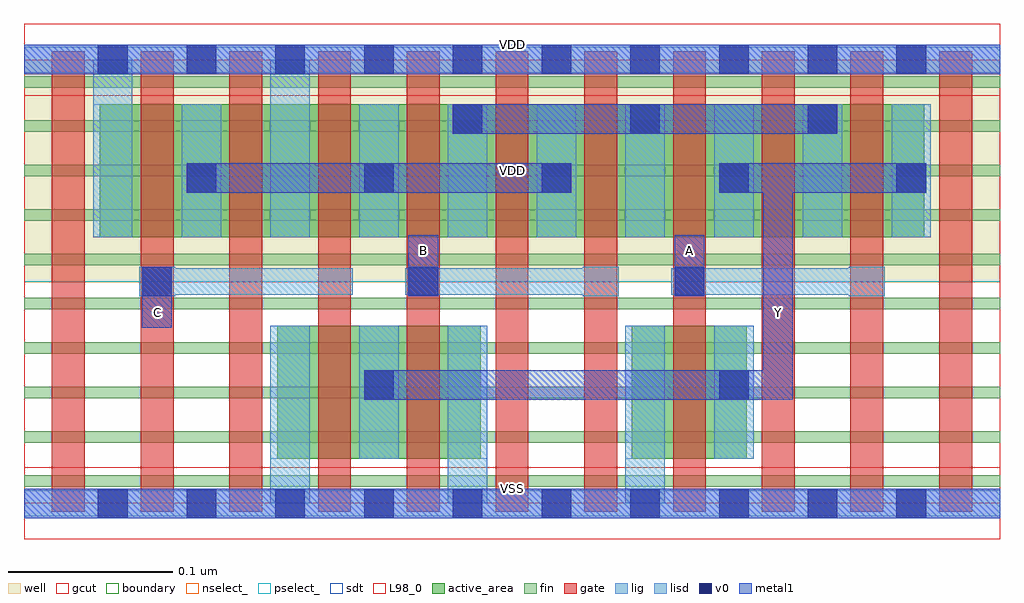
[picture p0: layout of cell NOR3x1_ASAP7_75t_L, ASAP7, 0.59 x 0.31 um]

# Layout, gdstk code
import gdstk
lib = gdstk.Library(unit=1e-6, precision=2.5e-10)
def R(c, l, rs):  # rectangles x0, y0, x1, y1
    for r in rs: c.add(gdstk.rectangle(r[:2], r[2:], *l))
def A(c, l, x, y, w, h, nx, ny, dx, dy):  # array of equal rectangles
    R(c, l, [(x+i*dx, y+j*dy, x+i*dx+w, y+j*dy+h) for i in range(nx) for j in range(ny)])
def P(c, l, *ps):  # polygons
    for p in ps: c.add(gdstk.Polygon(p, *l))
well = (1, 0)
fin = (2, 0)
gate = (7, 0)
gcut = (10, 0)
active_area = (11, 0)
nselect_ = (12, 0)
pselect_ = (13, 0)
lig = (16, 0)
lisd = (17, 0)
v0 = (18, 0)
metal1 = (19, 0)
sdt = (88, 0)
L98_0 = (98, 0)
boundary = (100, 0)

nor3x1_asap7_75t_l = lib.new_cell('NOR3x1_ASAP7_75t_L')
R(nor3x1_asap7_75t_l, well, [(0,0.135,0.594,0.27)])
A(nor3x1_asap7_75t_l, fin, 0, 0.01, 0.594, 0.007, 1, 10, 0, 0.027)
A(nor3x1_asap7_75t_l, gate, 0.017, -0.005, 0.02, 0.28, 11, 1, 0.054, 0)
R(nor3x1_asap7_75t_l, gcut, [(0,-0.022,0.594,0.022), (0,0.248,0.594,0.292)])
R(nor3x1_asap7_75t_l, active_area, [(0.154,0.027,0.278,0.108), (0.37,0.027,0.44,0.108), (0.046,0.162,0.548,0.243)])
R(nor3x1_asap7_75t_l, nselect_, [(0,0,0.594,0.135)])
R(nor3x1_asap7_75t_l, pselect_, [(0,0.135,0.594,0.27)])
A(nor3x1_asap7_75t_l, lig, 0.07, 0.127, 0.13, 0.016, 3, 1, 0.162, 0)
R(nor3x1_asap7_75t_l, lig, [(0,-0.008,0.594,0.008), (0.07,0.126,0.092,0.144), (0.34,0.126,0.362,0.144), (0.502,0.126,0.524,0.144), (0,0.262,0.594,0.278)])
A(nor3x1_asap7_75t_l, lisd, 0.204, 0.162, 0.024, 0.081, 7, 1, 0.054, 0)
R(nor3x1_asap7_75t_l, lisd, [(0.15,0,0.174,0.108), (0.15,0,0.174,0.108), (0.258,0,0.282,0.108), (0.258,0,0.282,0.108), (0.366,0,0.39,0.108), (0.366,0,0.39,0.108), (0.204,0.027,0.228,0.108), (0.42,0.027,0.444,0.108), (0.042,0.162,0.066,0.27), (0.042,0.162,0.066,0.27), (0.096,0.162,0.12,0.243), (0.15,0.162,0.174,0.27), (0.15,0.162,0.174,0.27)])
A(nor3x1_asap7_75t_l, v0, 0.045, -0.009, 0.018, 0.018, 10, 2, 0.054, 0.27)
A(nor3x1_asap7_75t_l, v0, 0.072, 0.126, 0.018, 0.018, 3, 1, 0.162, 0)
A(nor3x1_asap7_75t_l, v0, 0.099, 0.189, 0.018, 0.018, 5, 1, 0.108, 0)
A(nor3x1_asap7_75t_l, v0, 0.261, 0.225, 0.018, 0.018, 3, 1, 0.108, 0)
R(nor3x1_asap7_75t_l, v0, [(0.207,0.063,0.225,0.081), (0.423,0.063,0.441,0.081)])
A(nor3x1_asap7_75t_l, metal1, 0.072, 0.126, 0.018, 0.018, 3, 1, 0.162, 0)
A(nor3x1_asap7_75t_l, metal1, 0.099, 0.189, 0.018, 0.018, 5, 1, 0.108, 0)
A(nor3x1_asap7_75t_l, metal1, 0.261, 0.225, 0.018, 0.018, 3, 1, 0.108, 0)
R(nor3x1_asap7_75t_l, metal1, [(0,-0.009,0.594,0.009), (0.207,0.063,0.225,0.081), (0.423,0.063,0.441,0.081), (0.072,0.107,0.09,0.144), (0.234,0.126,0.252,0.163), (0.396,0.126,0.414,0.163), (0.099,0.189,0.333,0.207), (0.261,0.225,0.495,0.243), (0,0.261,0.594,0.279)])
P(nor3x1_asap7_75t_l, metal1, [(0.549,0.207),(0.423,0.207),(0.423,0.189),(0.45,0.189),(0.45,0.081),(0.207,0.081),(0.207,0.063),(0.468,0.063),(0.468,0.189),(0.549,0.189)])
A(nor3x1_asap7_75t_l, sdt, 0.15, 0.027, 0.024, 0.081, 3, 1, 0.054, 0)
A(nor3x1_asap7_75t_l, sdt, 0.042, 0.162, 0.024, 0.081, 3, 1, 0.054, 0)
A(nor3x1_asap7_75t_l, sdt, 0.15, 0.162, 0.024, 0.081, 8, 1, 0.054, 0)
R(nor3x1_asap7_75t_l, sdt, [(0.15,0.027,0.174,0.108), (0.258,0.027,0.282,0.108), (0.366,0.027,0.39,0.108), (0.366,0.027,0.39,0.108), (0.42,0.027,0.444,0.108), (0.042,0.162,0.066,0.243)])
R(nor3x1_asap7_75t_l, L98_0, [(0,0,0.594,0.27)])
R(nor3x1_asap7_75t_l, boundary, [(0,0,0.594,0.27)])
nor3x1_asap7_75t_l.add(gdstk.Label('VDD', (0.297,0.2025), layer=1, texttype=251))
nor3x1_asap7_75t_l.add(gdstk.Label('VSS', (0.297,-0.0675), layer=3, texttype=251))
nor3x1_asap7_75t_l.add(gdstk.Label('VSS', (0.297,0.009), layer=19, texttype=251))
nor3x1_asap7_75t_l.add(gdstk.Label('VDD', (0.297,0.279), layer=19, texttype=251))
nor3x1_asap7_75t_l.add(gdstk.Label('C', (0.081,0.116), layer=19, texttype=251))
nor3x1_asap7_75t_l.add(gdstk.Label('Y', (0.459,0.116), layer=19, texttype=251))
nor3x1_asap7_75t_l.add(gdstk.Label('B', (0.243,0.154), layer=19, texttype=251))
nor3x1_asap7_75t_l.add(gdstk.Label('A', (0.405,0.154), layer=19, texttype=251))

lib.write_gds('NOR3x1_ASAP7_75t_L.gds')
